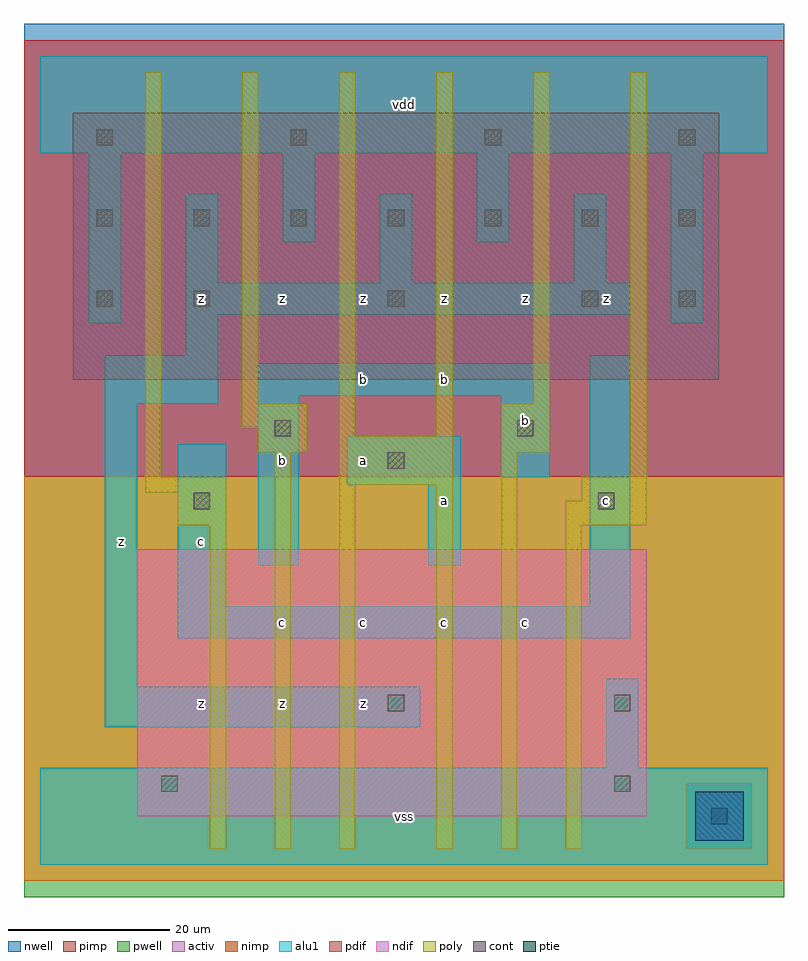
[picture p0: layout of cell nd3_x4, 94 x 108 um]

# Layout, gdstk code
import gdstk
lib = gdstk.Library(unit=1e-6, precision=1e-09)
def R(c, l, rs):  # rectangles x0, y0, x1, y1
    for r in rs: c.add(gdstk.rectangle(r[:2], r[2:], *l))
def A(c, l, x, y, w, h, nx, ny, dx, dy):  # array of equal rectangles
    R(c, l, [(x+i*dx, y+j*dy, x+i*dx+w, y+j*dy+h) for i in range(nx) for j in range(ny)])
ndif = (3, 0)
pdif = (4, 0)
ptie = (6, 0)
cont = (25, 0)
pwell = (41, 0)
nwell = (42, 0)
activ = (43, 0)
pimp = (44, 0)
nimp = (45, 0)
poly = (46, 0)
alu1 = (49, 0)

nd3_x4 = lib.new_cell('nd3_x4')
R(nd3_x4, ndif, [(12,6,75,39)])
R(nd3_x4, pdif, [(4,60,84,93)])
R(nd3_x4, ptie, [(81,3,87,9)])
A(nd3_x4, cont, 19, 69, 2, 2, 3, 1, 24, 0)
A(nd3_x4, cont, 7, 79, 2, 2, 7, 1, 12, 0)
A(nd3_x4, cont, 7, 89, 2, 2, 4, 1, 24, 0)
R(nd3_x4, cont, [(83,5,85,7), (15,9,17,11), (71,9,73,11), (43,19,45,21), (71,19,73,21), (19,44,21,46), (69,44,71,46), (43,49,45,51), (29,53,31,55), (59,53,61,55), (7,69,9,71), (79,69,81,71)])
R(nd3_x4, pwell, [(-2,-4,92,48)])
R(nd3_x4, nwell, [(-2,48,92,104)])
R(nd3_x4, activ, [(81,3,87,9), (12,6,75,39), (4,60,84,93)])
R(nd3_x4, pimp, [(80,2,88,10), (-2,48,92,102)])
R(nd3_x4, nimp, [(-2,-2,92,2), (-2,2,80,10), (88,2,92,10), (-2,10,92,48)])
R(nd3_x4, poly, [(21,2,23,42), (29,2,31,51), (37,2,39,47), (49,2,51,47), (57,2,59,51), (65,2,67,42), (17,42,23,46), (65,42,75,45), (67,45,75,48), (13,46,23,48), (37,47,51,53), (13,48,15,98), (73,48,75,98), (27,51,33,54), (57,51,63,57), (37,53,39,98), (49,53,51,98), (25,54,33,57), (25,57,27,98), (61,57,63,98)])
A(nd3_x4, alu1, 18, 72, 4, 11, 3, 1, 24, 0)
R(nd3_x4, alu1, [(0,0,90,12), (70,12,74,23), (8,17,47,22), (8,22,12,57), (17,28,73,32), (17,32,23,52), (68,32,73,63), (27,37,32,58), (48,37,52,47), (38,47,52,53), (57,48,63,58), (8,57,22,63), (27,58,63,62), (18,63,22,68), (6,67,10,88), (78,67,82,88), (18,68,73,72), (30,77,34,88), (54,77,58,88), (0,88,90,100)])
nd3_x4.add(gdstk.Label('z', (10,40), layer=49, texttype=0))
nd3_x4.add(gdstk.Label('z', (30,20), layer=49, texttype=0))
nd3_x4.add(gdstk.Label('z', (20,20), layer=49, texttype=0))
nd3_x4.add(gdstk.Label('c', (30,30), layer=49, texttype=0))
nd3_x4.add(gdstk.Label('c', (20,40), layer=49, texttype=0))
nd3_x4.add(gdstk.Label('b', (30,50), layer=49, texttype=0))
nd3_x4.add(gdstk.Label('z', (20,70), layer=49, texttype=0))
nd3_x4.add(gdstk.Label('z', (30,70), layer=49, texttype=0))
nd3_x4.add(gdstk.Label('vss', (45,6), layer=49, texttype=0))
nd3_x4.add(gdstk.Label('z', (40,20), layer=49, texttype=0))
nd3_x4.add(gdstk.Label('c', (40,30), layer=49, texttype=0))
nd3_x4.add(gdstk.Label('c', (50,30), layer=49, texttype=0))
nd3_x4.add(gdstk.Label('a', (40,50), layer=49, texttype=0))
nd3_x4.add(gdstk.Label('a', (50,45), layer=49, texttype=0))
nd3_x4.add(gdstk.Label('b', (40,60), layer=49, texttype=0))
nd3_x4.add(gdstk.Label('b', (50,60), layer=49, texttype=0))
nd3_x4.add(gdstk.Label('z', (40,70), layer=49, texttype=0))
nd3_x4.add(gdstk.Label('z', (50,70), layer=49, texttype=0))
nd3_x4.add(gdstk.Label('vdd', (45,94), layer=49, texttype=0))
nd3_x4.add(gdstk.Label('c', (60,30), layer=49, texttype=0))
nd3_x4.add(gdstk.Label('c', (70,45), layer=49, texttype=0))
nd3_x4.add(gdstk.Label('b', (60,55), layer=49, texttype=0))
nd3_x4.add(gdstk.Label('z', (60,70), layer=49, texttype=0))
nd3_x4.add(gdstk.Label('z', (70,70), layer=49, texttype=0))

lib.write_gds('nd3_x4.gds')
